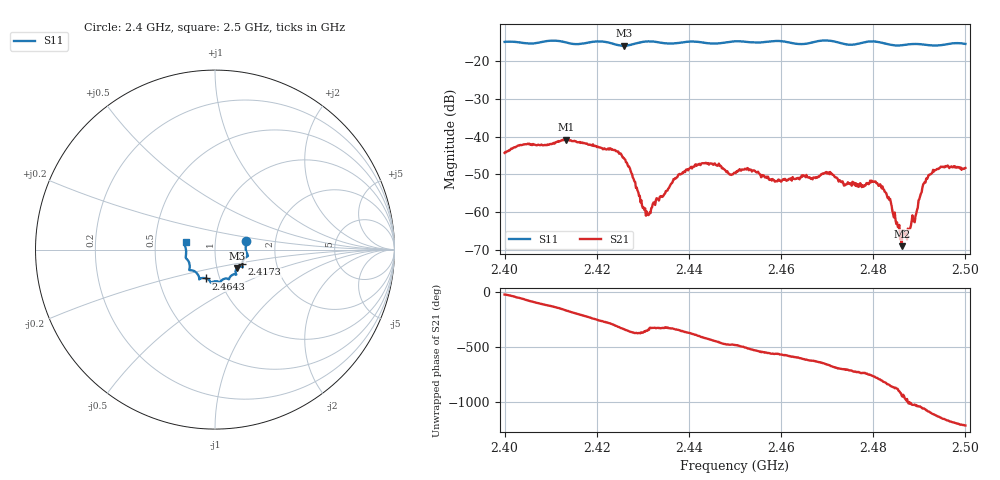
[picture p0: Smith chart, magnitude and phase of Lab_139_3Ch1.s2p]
# Hz S RI R 50
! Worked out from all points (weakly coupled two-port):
!   601 points, 2.4 GHz to 2.5 GHz, reference 50 ohm
!   highest |S21| = -40.81 dB at 2.4133 GHz (marker M1); lowest = -69.1 dB at 2.4862 GHz (marker M2)
!   lowest |S11| = -15.9 dB at 2.4258 GHz (marker M3), VSWR 1.38, Z = 62.3 - j13.3 ohm
!   |S11| at or under -10 dB: start of sweep to end of sweep
!   S12 and S22 are empty: the file has one direction only
!   S11 on the Smith chart (normalised r, x): 2.4 GHz: 1.41, +0.14; 2.4173 GHz: 1.34, -0.23; 2.4643 GHz: 0.86, -0.28; 2.5 GHz: 0.72, +0.06
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2.4e9  0.1732 0.0489  0.00551 -0.00257  0 0  0 0
2.413333e9  0.1714 -0.043  -0.00894 -0.00176  0 0  0 0
2.416667e9  0.1526 -0.0745  -0.00723 0.00406  0 0  0 0
2.417333e9  0.1517 -0.0818  -0.00638 0.00509  0 0  0 0
2.425833e9  0.1217 -0.1037  0.00486 0.00194  0 0  0 0
2.430833e9  0.1188 -0.1387  0.00101 0.000113  0 0  0 0
2.433333e9  0.1128 -0.1374  0.00122 0.000805  0 0  0 0
2.4375e9  0.0844 -0.1516  0.00278 0.000811  0 0  0 0
2.441833e9  0.075 -0.1644  0.0034 -0.0025  0 0  0 0
2.45e9  0.029 -0.181  -0.00176 -0.0028  0 0  0 0
2.464333e9  -0.0499 -0.1606  -0.00136 0.00253  0 0  0 0
2.466667e9  -0.076 -0.1592  -0.000234 0.00278  0 0  0 0
2.470167e9  -0.0879 -0.1655  0.00171 0.00284  0 0  0 0
2.473833e9  -0.0962 -0.1382  0.00216 0.000659  0 0  0 0
2.480167e9  -0.1434 -0.1128  0.0017 -0.00188  0 0  0 0
2.483333e9  -0.1408 -0.0898  -0.000791 -0.00137  0 0  0 0
2.486167e9  -0.1501 -0.0613  -0.000276 0.000218  0 0  0 0
2.487667e9  -0.1586 -0.0519  0.000208 0.000542  0 0  0 0
2.489167e9  -0.1629 -0.0446  0.000561 0.000674  0 0  0 0
2.491e9  -0.1623 -0.0342  0.00218 0.000984  0 0  0 0
2.4925e9  -0.1607 -0.02  0.00306 -0.00088  0 0  0 0
2.5e9  -0.1638 0.0425  -0.00248 -0.00293  0 0  0 0
